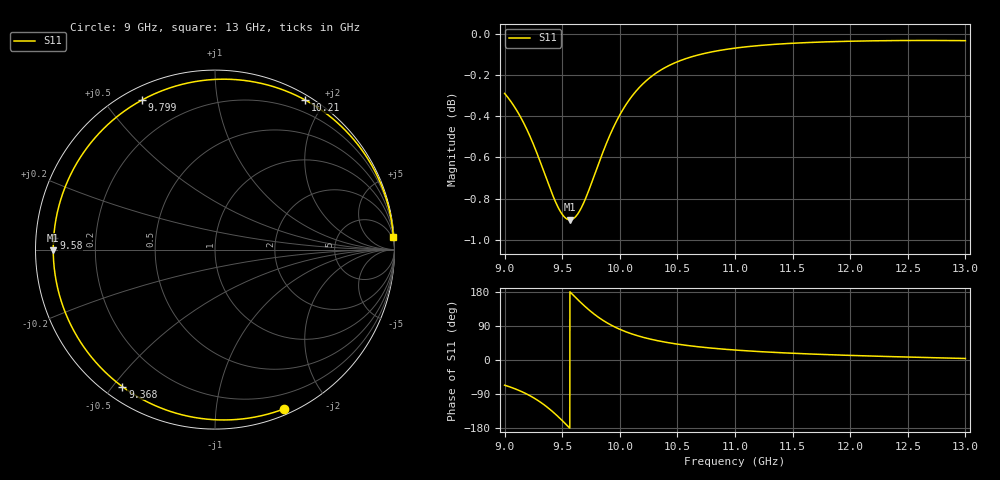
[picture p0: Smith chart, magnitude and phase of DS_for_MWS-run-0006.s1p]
! TOUCHSTONE file generated by CST DESIGN STUDIO
! Date and time: Tue Feb  4 17:08:10 2025
! Project name: C:\Work\MatlabApps\UnitCellOptimizationMatlab\CST\unitcell.cst
! Tree item: Tasks\Sweep1\SPara1\S-Parameters
! Header version: 2024
! Port assignment regex: !\s*Touchstone port\s*([0-9]+)\s*=\s*(CST MWS port|CST DES external port|CST DES block port)\s*(.+)\s* \(\"(.*)\"\)(\s*mode\s*([0-9]+))?.*
! Touchstone port assignment:
! Touchstone port 1 = CST DES external port 1 ("")
# GHz S MA R 50
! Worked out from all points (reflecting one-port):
!   4001 points, 9 GHz to 13 GHz, reference 50 ohm
!   lowest |S11| = -0.9 dB at 9.566 GHz (marker M1), VSWR 19.25, Z = 2.6 - j0.102 ohm
!   phase of S11 starts at -66 deg and turns -290 deg over the sweep
!   S11 on the Smith chart (normalised r, x): 9 GHz: 0.06, -1.53; 9.368 GHz: 0.05, -0.53; 9.58 GHz: 0.05, +0.04; 9.799 GHz: 0.05, +0.62; 10.21 GHz: 0.06, +1.77; 13 GHz: 2, +29
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9  0.9673 -66.4
9.041  0.9641 -70.5
9.107  0.958 -78.0
9.22  0.9444 -94.2
9.298  0.9328 -108.6
9.368  0.9215 -124.0
9.432  0.9117 -140.4
9.5  0.904 -159.8
9.533  0.902 -169.7
9.566  0.9012 -179.8
9.58  0.9014 175.9
9.635  0.9042 159.3
9.696  0.9111 141.8
9.747  0.9188 128.4
9.799  0.9273 116.1
9.842  0.9342 107.0
9.889  0.9414 98.2
10  0.9557 81.0
10.102  0.9655 69.1
10.213  0.9733 59.0
10.345  0.9796 49.9
10.5  0.9846 41.9
10.721  0.989 33.6
11  0.9921 26.3
11.5  0.9949 17.8
12  0.996 12.1
12.5  0.9964 7.8
13  0.9963 4.0
